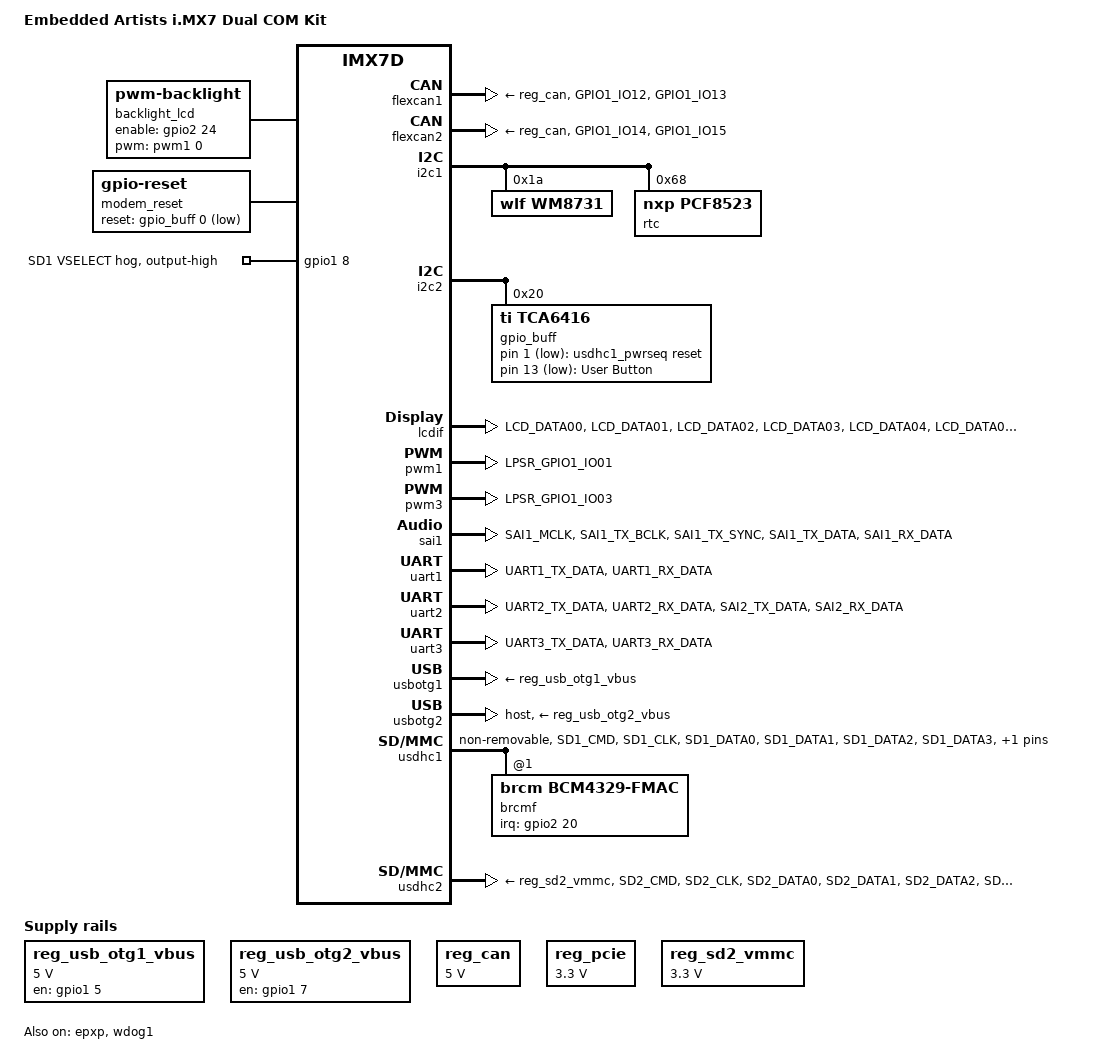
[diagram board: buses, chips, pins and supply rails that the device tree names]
/*
 * Copyright (C) 2015 Freescale Semiconductor, Inc.
 *
 * This program is free software; you can redistribute it and/or modify
 * it under the terms of the GNU General Public License version 2 as
 * published by the Free Software Foundation.
 */

/dts-v1/;
 
#include <dt-bindings/input/input.h>
#include "imx7dea-com.dtsi"

/ {
	model = "Embedded Artists i.MX7 Dual COM Kit";
	compatible = "fsl,imx7dea-com", "fsl,imx7d";

	/* Aliases to allow u-boot to modify the device tree */
	aliases {
		fb_rgb = &lcdif;
		t_rgb = &t_lcd;
		bl_rgb = &backlight_lcd;
		rgb = &display0;
		ts_con_rgb = &i2c1;
	};

	backlight_lcd: backlight {
		compatible = "pwm-backlight";
		pwms = <&pwm1 0 5000000 0>;
		brightness-levels = <0 4 8 16 32 64 128 255>;
		default-brightness-level = <6>;
		enable-gpios = <&gpio2 24 GPIO_ACTIVE_HIGH>;
		status = "okay";
	};

	pxp_v4l2_out {
		compatible = "fsl,imx7d-pxp-v4l2", "fsl,imx6sx-pxp-v4l2", "fsl,imx6sl-pxp-v4l2";
		status = "okay";
	};

	modem_reset: modem-reset {		/* Murata -- BT_REG_ON */
		compatible = "gpio-reset";
		reset-gpios = <&gpio_buff 0 GPIO_ACTIVE_LOW>;
		reset-delay-us = <1000>;
		initially-in-reset; 
		#reset-cells = <0>;
	};

	sii902x_reset: sii902x-reset {
		compatible = "gpio-reset";
		reset-gpios = <&gpio2 27 GPIO_ACTIVE_LOW>;
		reset-delay-us = <10000>;
		initially-in-reset;
		#reset-cells = <0>;
		status = "disabled";
	};

	regulators {
		compatible = "simple-bus";
		#address-cells = <1>;
		#size-cells = <0>;

		reg_usb_otg1_vbus: regulator@0 {
			compatible = "regulator-fixed";
			reg = <0>;
			regulator-name = "usb_otg1_vbus";
			regulator-min-microvolt = <5000000>;
			regulator-max-microvolt = <5000000>;
			gpio = <&gpio1 5 GPIO_ACTIVE_HIGH>;
			enable-active-high;
		};

		reg_usb_otg2_vbus: regulator@1 {
			compatible = "regulator-fixed";
			reg = <1>;
			regulator-name = "usb_otg2_vbus";
			regulator-min-microvolt = <5000000>;
			regulator-max-microvolt = <5000000>;
			gpio = <&gpio1 7 GPIO_ACTIVE_HIGH>;
			enable-active-high;
		};

		reg_can: regulator@2 {
			compatible = "regulator-fixed";
			reg = <2>;
			regulator-name = "reg-can";
			regulator-min-microvolt = <5000000>;
			regulator-max-microvolt = <5000000>;
			regulator-always-on;
		};

		reg_pcie: regulator@4 {
			compatible = "regulator-fixed";
			reg = <4>;
			regulator-name = "MPCIE_3V3";
			regulator-min-microvolt = <3300000>;
			regulator-max-microvolt = <3300000>;
			regulator-always-on;
			enable-active-high;
		};

		reg_sd2_vmmc: regulator@5 {
			compatible = "regulator-fixed";
			regulator-name = "VDD_SD2";
			regulator-min-microvolt = <3300000>;
			regulator-max-microvolt = <3300000>;
			enable-active-high;
			startup-delay-us = <200000>;
		};
		usdhc1_pwrseq: usdhc1_pwrseq {			/* add construct for "fmac" to control WL_REG_ON signal */
			compatible = "mmc-pwrseq-simple";
			reset-gpios = <&gpio_buff 1 GPIO_ACTIVE_LOW>; /* WL REG ON */
			post-power-on-delay-ms = <120>;
			status = "okay";
		};
	};

	sound-wm8731 {
		compatible = "simple-audio-card";
		simple-audio-card,name = "wm8731-audio";
		simple-audio-card,format = "i2s";
		simple-audio-card,frame-master = <&cpudai>;
		simple-audio-card,bitclock-master = <&cpudai>;
		simple-audio-card,widgets =
			"Line", "Left Line Out Jack",
			"Line", "Right Line Out Jack";
		simple-audio-card,routing =
			"Left Line Out Jack", "LOUT",
			"Right Line Out Jack", "ROUT";

		cpudai: simple-audio-card,cpu {
			sound-dai = <&sai1>;
			dai-tdm-slot-num = <2>;
			dai-tdm-slot-width = <32>;
		};

		simple-audio-card,codec {
			sound-dai = <&wm8731>;
			clocks = <&clks IMX7D_AUDIO_MCLK_ROOT_DIV>;
		};
	};

	gpio-keys {
		compatible = "gpio-keys";

		user_btn {
			label = "User Button";
			gpios = <&gpio_buff 13 GPIO_ACTIVE_LOW>;
			linux,code = <103>; /* 103 = numpad 7 */
		};
	};
};

&clks {
	assigned-clocks = <&clks IMX7D_PLL_AUDIO_POST_DIV>;
	assigned-clock-rates = <722534400>;
};

&epxp {
	status = "okay";
};

&flexcan1 {
        pinctrl-names = "default";
        pinctrl-0 = <&pinctrl_flexcan1>;
        xceiver-supply = <&reg_can>;
        status = "okay";
};


&flexcan2 {
	pinctrl-names = "default";
	pinctrl-0 = <&pinctrl_flexcan2>;
	xceiver-supply = <&reg_can>;
	status = "okay";
};

&i2c1 {
        wm8731: wm8731@1a {
		#sound-dai-cells = <0>;
		compatible = "wlf,wm8731";
		reg = <0x1a>;
		clocks = <&clks IMX7D_AUDIO_MCLK_ROOT_DIV>;

		assigned-clocks = <&clks IMX7D_AUDIO_MCLK_ROOT_DIV>, 
				<&clks IMX7D_AUDIO_MCLK_ROOT_SRC>;
		assigned-clock-parents = <&clks IMX7D_AUDIO_MCLK_ROOT_DIV>, 
				<&clks IMX7D_PLL_AUDIO_POST_DIV>;
		assigned-clock-rates = <11289600>, <0>;

        };

        /* AR1021 touch controller through RGB display interface connector on Carrier Board */
        ar1021_rgb@4d {
                compatible = "microchip,ar1021-i2c";
                reg = <0x4d>;
                pinctrl-names = "default";
                pinctrl-0 = <&pinctrl_rgb_connector>;
                interrupt-parent = <&gpio5>;
                interrupts = <9 IRQ_TYPE_EDGE_FALLING>;
                ar1021,swap_xy;
                ar1021,invert_x;
                #ar1021,invert_y;
		status = "disabled";
        };

        /* eGalax touch controller through RGB display interface connector on Carrier Board */
        egalax_ts_rgb@4 {
                compatible = "eeti,egalax_ts";
                reg = <0x4>;
                pinctrl-names = "default";
                pinctrl-0 = <&pinctrl_rgb_connector>;
                interrupt-parent = <&gpio5>;
                interrupts = <9 IRQ_TYPE_EDGE_FALLING>;
                wakeup-gpios = <&gpio5 9 GPIO_ACTIVE_HIGH>;
		status = "disabled";
        };

        /* FocalTech touch controller through RGB display interface connector on Carrier Board */
        edt-ft5x06_rgb@38 {
                compatible = "edt,edt-ft5x06";
                reg = <0x38>;
                pinctrl-names = "default";
                pinctrl-0 = <&pinctrl_rgb_connector>;
                interrupt-parent = <&gpio5>;
                interrupts = <9 IRQ_TYPE_EDGE_FALLING>;
		status = "disabled";
        };

        /* Ilitek touch controller through RGB display interface connector on Carrier Board */
        ilitek_aim_rgb@41 {
                compatible = "ilitek,ilitek_aim";
                reg = <0x41>;
                pinctrl-names = "default";
                pinctrl-0 = <&pinctrl_rgb_connector>;
                interrupt-parent = <&gpio5>;
                interrupts = <9 IRQ_TYPE_EDGE_FALLING>;
		status = "disabled";
        };

        /* Atmel MXT1664 touch controller through RGB display interface connector on Carrier Board */
        mxt1664_ts_rgb@4b {
                compatible = "atmel,mxt1664_ts";
                reg = <0x4b>;
                pinctrl-names = "default";
                pinctrl-0 = <&pinctrl_rgb_connector>;
                interrupt-parent = <&gpio5>;
                interrupts = <9 IRQ_TYPE_EDGE_FALLING>;
		status = "disabled";
        };

        /* Sitronix touch controller through RGB display interface connector on Carrier Board */
        sitronix_rgb@55 {
                compatible = "sitronix,sitronix_i2c";
                reg = <0x55>;
                pinctrl-names = "default";
                pinctrl-0 = <&pinctrl_rgb_connector>;
                interrupt-parent = <&gpio5>;
                interrupts = <9 IRQ_TYPE_EDGE_FALLING>;
		status = "disabled";
        };
	rtc: pcf8523@68 {
		compatible = "nxp,pcf8523";
		reg = <0x68>;
	};
	sii902x: sii902x@39 {
		compatible = "SiI,sii902x";
		pinctrl-names = "default";
		pinctrl-0 = <&pinctrl_rgb_connector>;
		interrupt-parent = <&gpio5>;
		interrupts = <9 IRQ_TYPE_EDGE_FALLING>;
		resets = <&sii902x_reset>;
		mode_str ="800x600M@60";
		bits-per-pixel = <24>;
		reg = <0x39>;
		status = "disabled";
	};
};

&i2c2 {

	gpio_buff: pca6416@20 {
		compatible = "ti,tca6416";
		reg = <0x20>;
		gpio-controller;
		#gpio-cells = <2>;
		gpio-line-names = "BT_REG_ON", "WL_REG_ON", "VBAT_VSEL",
			"BT_DEV_WAKE", "", "AUD_CODEC_MUX_CTRL1",
			"VDDIO_VSEL", "PCIE_PERST_L", "",
			"DIR_WL_DEV_WAKE", "PCIE_CLK_MUX_CTRL", "AUD_CODEC_MUX_CTRL2",
			"DIR_BT_AUD_WS_CLK", "USER_BTN", "USER_LED1", "USER_LED2";

		hog_VBAT_VSEL {
			gpio-hog;
			gpios = <2 0>;
			output-low; /* LOW = 3.3V, HIGH = 3.6V */
		};
		hog_AUD_CODEC_MUX_CTRL1 {
			gpio-hog;
			gpios = <5 0>;
			output-low;
		};
		hog_VDDIO_VSEL {
			gpio-hog;
			gpios = <6 0>;
			output-low; /* LOW = 1.8V, HIGH = 3.3V */
		};
		hog_DIR_WL_DEV_WAKE {
			gpio-hog;
			gpios = <9 0>;
			output-low;
		};
		hog_PCIE_CLK_MUX_CTRL {
			gpio-hog;
			gpios = <10 0>;
			output-high; /* LOW = External Reference Clock, HIGH = i.MX Generated Clock */
		};
		hog_AUD_CODEC_MUX_CTRL2 {
			gpio-hog;
			gpios = <11 0>;
			output-low;
		};
	};
};

&iomuxc {
	pinctrl-0 = <&pinctrl_hog_1>, <&pinctrl_exp_conn>;

	imx7d-sdb-kit {
		pinctrl_hog_1: hoggrp-1 {
			fsl,pins = <
				MX7D_PAD_GPIO1_IO08__GPIO1_IO8		0x0B /* Murata - VSELECT for WLAN SDIO interface */
			>;
		};

		pinctrl_rgb_connector: rgb_connector_grp {
			fsl,pins = <
				MX7D_PAD_SD2_CD_B__GPIO5_IO9          0x1f0b0
				MX7D_PAD_EPDC_GDSP__GPIO2_IO27        0x1f0b0
			>;
		};

                pinctrl_flexcan1: flexcan1grp {
                        fsl,pins = <
                                MX7D_PAD_GPIO1_IO12__FLEXCAN1_RX        0x59
                                MX7D_PAD_GPIO1_IO13__FLEXCAN1_TX        0x59
                        >;
                };

		pinctrl_flexcan2: flexcan2grp {
			fsl,pins = <
				MX7D_PAD_GPIO1_IO14__FLEXCAN2_RX	0x59
				MX7D_PAD_GPIO1_IO15__FLEXCAN2_TX	0x59
			>;
		};

		pinctrl_lcdif_dat: lcdifdatgrp {
			fsl,pins = <
				MX7D_PAD_LCD_DATA00__LCD_DATA0	0x79
				MX7D_PAD_LCD_DATA01__LCD_DATA1	0x79
				MX7D_PAD_LCD_DATA02__LCD_DATA2	0x79
				MX7D_PAD_LCD_DATA03__LCD_DATA3	0x79
				MX7D_PAD_LCD_DATA04__LCD_DATA4	0x79
				MX7D_PAD_LCD_DATA05__LCD_DATA5	0x79
				MX7D_PAD_LCD_DATA06__LCD_DATA6	0x79
				MX7D_PAD_LCD_DATA07__LCD_DATA7	0x79
				MX7D_PAD_LCD_DATA08__LCD_DATA8	0x79
				MX7D_PAD_LCD_DATA09__LCD_DATA9	0x79
				MX7D_PAD_LCD_DATA10__LCD_DATA10	0x79
				MX7D_PAD_LCD_DATA11__LCD_DATA11	0x79
				MX7D_PAD_LCD_DATA12__LCD_DATA12	0x79
				MX7D_PAD_LCD_DATA13__LCD_DATA13	0x79
				MX7D_PAD_LCD_DATA14__LCD_DATA14	0x79
				MX7D_PAD_LCD_DATA15__LCD_DATA15	0x79
				MX7D_PAD_LCD_DATA16__LCD_DATA16	0x79
				MX7D_PAD_LCD_DATA17__LCD_DATA17	0x79
				MX7D_PAD_LCD_DATA18__LCD_DATA18	0x79
				MX7D_PAD_LCD_DATA19__LCD_DATA19	0x79
				MX7D_PAD_LCD_DATA20__LCD_DATA20	0x79
				MX7D_PAD_LCD_DATA21__LCD_DATA21	0x79
				MX7D_PAD_LCD_DATA22__LCD_DATA22	0x79
				MX7D_PAD_LCD_DATA23__LCD_DATA23	0x79
			>;
		};

		pinctrl_lcdif_ctrl: lcdifctrlgrp {
			fsl,pins = <
				MX7D_PAD_LCD_CLK__LCD_CLK	0x79
				MX7D_PAD_LCD_ENABLE__LCD_ENABLE	0x79
				MX7D_PAD_LCD_VSYNC__LCD_VSYNC	0x79
				MX7D_PAD_LCD_HSYNC__LCD_HSYNC	0x79
				MX7D_PAD_LCD_RESET__LCD_RESET	0x79
				MX7D_PAD_EPDC_GDCLK__GPIO2_IO24 0x79
				MX7D_PAD_EPDC_GDOE__GPIO2_IO25  0x79
			>;
		};

		pinctrl_uart1: uart1grp {
			fsl,pins = <
				MX7D_PAD_UART1_TX_DATA__UART1_DCE_TX 0x79
				MX7D_PAD_UART1_RX_DATA__UART1_DCE_RX 0x79
			>;
		};

                pinctrl_uart2: uart2grp {
                        fsl,pins = <
                                MX7D_PAD_UART2_TX_DATA__UART2_DCE_TX 0x79
                                MX7D_PAD_UART2_RX_DATA__UART2_DCE_RX 0x79
				MX7D_PAD_SAI2_TX_DATA__UART2_DCE_RTS 0x79
				MX7D_PAD_SAI2_RX_DATA__UART2_DCE_CTS 0x79
                        >;
                };

                pinctrl_uart3: uart3grp {
                        fsl,pins = <
                                MX7D_PAD_UART3_TX_DATA__UART3_DCE_TX 0x79
                                MX7D_PAD_UART3_RX_DATA__UART3_DCE_RX 0x79
                        >;
                };

		pinctrl_usdhc1: usdhc1grp {
			fsl,pins = <
				MX7D_PAD_SD1_CMD__SD1_CMD	0x59
				MX7D_PAD_SD1_CLK__SD1_CLK	0x19
				MX7D_PAD_SD1_DATA0__SD1_DATA0	0x59
				MX7D_PAD_SD1_DATA1__SD1_DATA1	0x59
				MX7D_PAD_SD1_DATA2__SD1_DATA2	0x59
				MX7D_PAD_SD1_DATA3__SD1_DATA3	0x59
				MX7D_PAD_EPDC_SDCE0__GPIO2_IO20	0x59 /* WL_HOST_WAKE */
			>;
		};

		pinctrl_usdhc1_100mhz: usdhc1grp_100mhz {
			fsl,pins = <
				MX7D_PAD_SD1_CMD__SD1_CMD	0x5a
				MX7D_PAD_SD1_CLK__SD1_CLK	0x1a
				MX7D_PAD_SD1_DATA0__SD1_DATA0	0x5a
				MX7D_PAD_SD1_DATA1__SD1_DATA1	0x5a
				MX7D_PAD_SD1_DATA2__SD1_DATA2	0x5a
				MX7D_PAD_SD1_DATA3__SD1_DATA3	0x5a
			>;
		};

		pinctrl_usdhc1_200mhz: usdhc1grp_200mhz {
			fsl,pins = <
				MX7D_PAD_SD1_CMD__SD1_CMD	0x5b
				MX7D_PAD_SD1_CLK__SD1_CLK	0x1b
				MX7D_PAD_SD1_DATA0__SD1_DATA0	0x5b
				MX7D_PAD_SD1_DATA1__SD1_DATA1	0x5b
				MX7D_PAD_SD1_DATA2__SD1_DATA2	0x5b
				MX7D_PAD_SD1_DATA3__SD1_DATA3	0x5b
			>;
		};

		pinctrl_usdhc2: usdhc2grp {
			fsl,pins = <
				MX7D_PAD_SD2_CMD__SD2_CMD       0x5a
				MX7D_PAD_SD2_CLK__SD2_CLK       0x1a
				MX7D_PAD_SD2_DATA0__SD2_DATA0   0x5a
				MX7D_PAD_SD2_DATA1__SD2_DATA1   0x5a
				MX7D_PAD_SD2_DATA2__SD2_DATA2   0x5a
				MX7D_PAD_SD2_DATA3__SD2_DATA3   0x5a
				MX7D_PAD_SD1_CD_B__GPIO5_IO0    0x5a /* CD */
			>;
		};

                pinctrl_sai1: sai1grp {
                        fsl,pins = <
                                MX7D_PAD_SAI1_MCLK__SAI1_MCLK           0x1f
				MX7D_PAD_SAI1_TX_BCLK__SAI1_TX_BCLK     0x1f
				MX7D_PAD_SAI1_TX_SYNC__SAI1_TX_SYNC     0x1f
				MX7D_PAD_SAI1_TX_DATA__SAI1_TX_DATA0    0x30
				MX7D_PAD_SAI1_RX_DATA__SAI1_RX_DATA0    0x1f
                        >;
                };

		pinctrl_pcie: pciegrp {
			fsl,pins = <
				MX7D_PAD_EPDC_SDCE2__GPIO2_IO22		0x59 /* PCIe CLKREQ */
			>;
		};

		/* Expansion Board */
		pinctrl_exp_conn: expconngrp {
			fsl,pins = <
				MX7D_PAD_ENET1_CRS__GPIO7_IO14		0x1b /* GPIO_H */
				MX7D_PAD_LPSR_GPIO1_IO02__GPIO1_IO2	0x1b /* GPIO_J */
				/*MX7D_PAD_GPIO1_IO08__GPIO1_IO8	0x1b    GPIO_K shared with SD1_VSELECT */
				MX7D_PAD_UART3_CTS_B__GPIO4_IO7		0x1b /* GPIO_P */

				/*MX7D_PAD_EPDC_DATA00__GPIO2_IO0	0x1b    GPIO_Q shared with QSPI_A */
				/*MX7D_PAD_EPDC_DATA01__GPIO2_IO1	0x1b    GPIO_R shared with QSPI_A */
				/*MX7D_PAD_EPDC_DATA02__GPIO2_IO2	0x1b    GPIO_S shared with QSPI_A */
				/*MX7D_PAD_EPDC_DATA03__GPIO2_IO3	0x1b    GPIO_T shared with QSPI_A */
				MX7D_PAD_EPDC_DATA04__GPIO2_IO4		0x1b /* GPIO_U */
				/*MX7D_PAD_EPDC_DATA05__GPIO2_IO5	0x1b    GPIO_V shared with QSPI_A */
				/*MX7D_PAD_EPDC_DATA06__GPIO2_IO6	0x1b    GPIO_W shared with QSPI_A */
				MX7D_PAD_EPDC_DATA07__GPIO2_IO7		0x1b /* GPIO_X */
				MX7D_PAD_EPDC_DATA08__GPIO2_IO8		0x1b /* GPIO_Y */
				MX7D_PAD_EPDC_DATA09__GPIO2_IO9		0x1b /* GPIO_Z */
				MX7D_PAD_EPDC_DATA10__GPIO2_IO10	0x1b /* GPIO_AA */
				MX7D_PAD_EPDC_DATA11__GPIO2_IO11	0x1b /* GPIO_AB */
				MX7D_PAD_EPDC_DATA12__GPIO2_IO12	0x1b /* GPIO_AC */
				MX7D_PAD_EPDC_DATA13__GPIO2_IO13	0x1b /* GPIO_AD */
				MX7D_PAD_EPDC_DATA14__GPIO2_IO14	0x1b /* GPIO_AE */
				MX7D_PAD_EPDC_DATA15__GPIO2_IO15	0x1b /* GPIO_AF */
				MX7D_PAD_EPDC_SDCLK__GPIO2_IO16		0x1b /* GPIO_AG */
				MX7D_PAD_EPDC_SDLE__GPIO2_IO17		0x1b /* GPIO_AH */
				MX7D_PAD_EPDC_SDOE__GPIO2_IO18		0x1b /* GPIO_AJ */
				MX7D_PAD_EPDC_PWR_COM__GPIO2_IO30	0x1b /* GPIO_AK */
				MX7D_PAD_EPDC_PWR_STAT__GPIO2_IO31	0x1b /* GPIO_AL */
				MX7D_PAD_SD1_WP__GPIO5_IO1		0x1b /* GPIO_AP */
				/* GPIO_AQ Used by SNCS_TAMPER3 */
				/* GPIO_AR Used by SNCS_TAMPER4 */
				/* GPIO_AS Used by SNCS_TAMPER5 */
				/* GPIO_AT Used by SNCS_TAMPER6 */
				/* GPIO_AU Used by SNCS_TAMPER7 */
				/* GPIO_AV Used by SNCS_TAMPER8 */
			>;
		};
	};
};

&iomuxc_lpsr {
	pinctrl-names = "default";
	pinctrl-0 = <&pinctrl_hog_2>;

	imx7d-sdb {
		pinctrl_hog_2: hoggrp-2 {
			fsl,pins = <
                                MX7D_PAD_LPSR_GPIO1_IO05__GPIO1_IO5             0x14
                                MX7D_PAD_LPSR_GPIO1_IO00__WDOG1_WDOG_ANY        0x74
                                MX7D_PAD_LPSR_GPIO1_IO07__GPIO1_IO7             0x59
			>;
		};

		pinctrl_pwm1: pwm1grp {
			fsl,pins = <
				MX7D_PAD_LPSR_GPIO1_IO01__PWM1_OUT      0x110b0
			>;
		};

                pinctrl_pwm3: pwm3grp {
                        fsl,pins = <
				MX7D_PAD_LPSR_GPIO1_IO03__PWM3_OUT      0x110b0
                        >;
                };

	};
};

&lcdif {
	pinctrl-names = "default";
	pinctrl-0 = <&pinctrl_lcdif_dat
		     &pinctrl_lcdif_ctrl>;
	pinctrl-assert-gpios = <&gpio2 25 GPIO_ACTIVE_HIGH>;
	display = <&display0>;
	status = "okay";

	display0: display@0 {
		bits-per-pixel = <24>;
		bus-width = <24>;

                display-timings {
                        native-mode = <&t_lcd>;
                        t_lcd: t_lcd_default {
                                /* values may be changed in bootscript */
                                clock-frequency = <33336667>;
                                hactive = <1280>;
                                vactive = <720>;
                                hback-porch = <89>;
                                hfront-porch = <164>;
                                vback-porch = <75>;
                                vfront-porch = <75>;
                                hsync-len = <10>;
                                vsync-len = <10>;
                                hsync-active = <0>;
                                vsync-active = <0>;
                                de-active = <1>;
                                pixelclk-active = <0>;
                        };


                };

	};
};

&pcie {
	pinctrl-names = "default";
	pinctrl-0 = <&pinctrl_pcie>;
	reset-gpio = <&gpio_buff 7 GPIO_ACTIVE_LOW>; /* PCIE_PERST_L */
	disable-gpio = <&gpio_buff 1 GPIO_ACTIVE_LOW>; /* WL REG ON */
	clkreq-gpio = <&gpio2 22 GPIO_ACTIVE_LOW>; /* PCIe_CLKREQ */
	status = "disabled";
};

&pwm1 {
	pinctrl-names = "default";
	pinctrl-0 = <&pinctrl_pwm1>;
	status = "okay";
};

&pwm3 {
        pinctrl-names = "default";
        pinctrl-0 = <&pinctrl_pwm3>;
        status = "okay";
};



&sai1 {
	#sound-dai-cells = <0>;
	pinctrl-names = "default";
	pinctrl-0 = <&pinctrl_sai1>;
	assigned-clocks = <&clks IMX7D_SAI1_ROOT_SRC>,
			  <&clks IMX7D_SAI1_ROOT_CLK>;
	assigned-clock-parents = <&clks IMX7D_PLL_AUDIO_POST_DIV>;
	assigned-clock-rates = <0>, <11289600>;
	status = "okay";
};

&uart1 {
	pinctrl-names = "default";
	pinctrl-0 = <&pinctrl_uart1>;
	assigned-clocks = <&clks IMX7D_UART1_ROOT_SRC>;
	assigned-clock-parents = <&clks IMX7D_OSC_24M_CLK>;
	status = "okay";
};

/* Bluetooth UART */
&uart2 {
        pinctrl-names = "default";
        pinctrl-0 = <&pinctrl_uart2>;
        assigned-clocks = <&clks IMX7D_UART2_ROOT_SRC>;
        assigned-clock-parents = <&clks IMX7D_PLL_SYS_MAIN_240M_CLK>;
	fsl,uart-has-rtscts;
	resets = <&modem_reset>;
	status = "okay";
};

&uart3 {
        pinctrl-names = "default";
        pinctrl-0 = <&pinctrl_uart3>;
        assigned-clocks = <&clks IMX7D_UART3_ROOT_SRC>;
        assigned-clock-parents = <&clks IMX7D_OSC_24M_CLK>;
	status = "okay";
};

&usbotg1 {
	vbus-supply = <&reg_usb_otg1_vbus>;
	srp-disable;
	hnp-disable;
	adp-disable;
	status = "okay";
};

&usbotg2 {
	vbus-supply = <&reg_usb_otg2_vbus>;
	dr_mode = "host";
	status = "okay";
};

&gpio1 {
	/* Murata - This hog forces SD1_VSELECT high; SD1 VIO = 1.8V */
	sd1_vselect_gpio {
		gpio-hog;
		gpios = <8 GPIO_ACTIVE_HIGH>;
		output-high;
		line-name = "SD1 VSELECT";
	};
};

&usdhc1 {
	#address-cells = <1>;
	#size-cells = <0>;
	pinctrl-names = "default", "state_100mhz", "state_200mhz";
	pinctrl-0 = <&pinctrl_usdhc1>;
	pinctrl-1 = <&pinctrl_usdhc1_100mhz>;
	pinctrl-2 = <&pinctrl_usdhc1_200mhz>;
	keep-power-in-suspend;
	non-removable;
	pm-ignore-notify;
	cap-power-off; 
	mmc-pwrseq = <&usdhc1_pwrseq>;
	status = "okay";
	brcmf: bcrmf@1 {
		reg = <1>;
		compatible = "brcm,bcm4329-fmac";
		interrupt-parent = <&gpio2>;
		interrupts = <20 IRQ_TYPE_LEVEL_LOW>; /* WL_HOST_WAKE = GPIO2_IO20 active low for M.2. */
		interrupt-names = "host-wake";
	};
};

/* For uSD socket on COM Carrier Board */
&usdhc2 {
	pinctrl-names = "default";
	pinctrl-0 = <&pinctrl_usdhc2>;
	cd-gpios = <&gpio5 0 GPIO_ACTIVE_LOW>;
	enable-sdio-wakeup;
	keep-power-in-suspend;
	tuning-step = <2>;
	vmmc-supply = <&reg_sd2_vmmc>;
	enable-sdio-wakeup;
	no-1-8-v;
	status = "okay";
};

&wdog1 {
	status = "okay";
	fsl,ext-reset-output;
};
